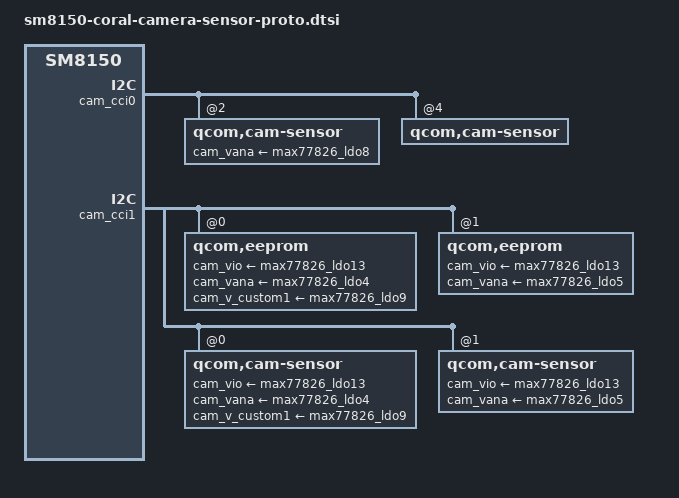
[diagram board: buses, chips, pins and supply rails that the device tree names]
/*
* Copyright (c) 2018, The Linux Foundation. All rights reserved.
*
* This program is free software; you can redistribute it and/or modify
* it under the terms of the GNU General Public License version 2 and
* only version 2 as published by the Free Software Foundation.
*
* This program is distributed in the hope that it will be useful,
* but WITHOUT ANY WARRANTY; without even the implied warranty of
* MERCHANTABILITY or FITNESS FOR A PARTICULAR PURPOSE.  See the
* GNU General Public License for more details.
*/

&vd6281 {
	vio-supply = <&max77826_ldo13>;
	vdd-supply = <&max77826_ldo15>;
};

&lm36011_flood {
	sx9320_vdd-supply = <&max77826_ldo14>;
};

&lm36011_dot {
	sx9320_vdd-supply = <&max77826_ldo14>;
};

&cam_cci0 {
	qcom,cam-sensor@2 {
		cam_vana-supply = <&max77826_ldo8>;
	};

	qcom,cam-sensor@4 {
		cci-device = <0>;
		cci-master = <1>;
	};
};

&cam_cci1 {
	qcom,eeprom@0 {
		cam_vio-supply = <&max77826_ldo13>;
		cam_vana-supply = <&max77826_ldo4>;
		cam_v_custom1-supply = <&max77826_ldo9>;
	};

	qcom,eeprom@1 {
		cam_vio-supply = <&max77826_ldo13>;
		cam_vana-supply = <&max77826_ldo5>;
	};

	qcom,cam-sensor@0 {
		cam_vio-supply = <&max77826_ldo13>;
		cam_vana-supply = <&max77826_ldo4>;
		cam_v_custom1-supply = <&max77826_ldo9>;
	};

	qcom,cam-sensor@1 {
		cam_vio-supply  = <&max77826_ldo13>;
		cam_vana-supply = <&max77826_ldo5>;
	};
};
